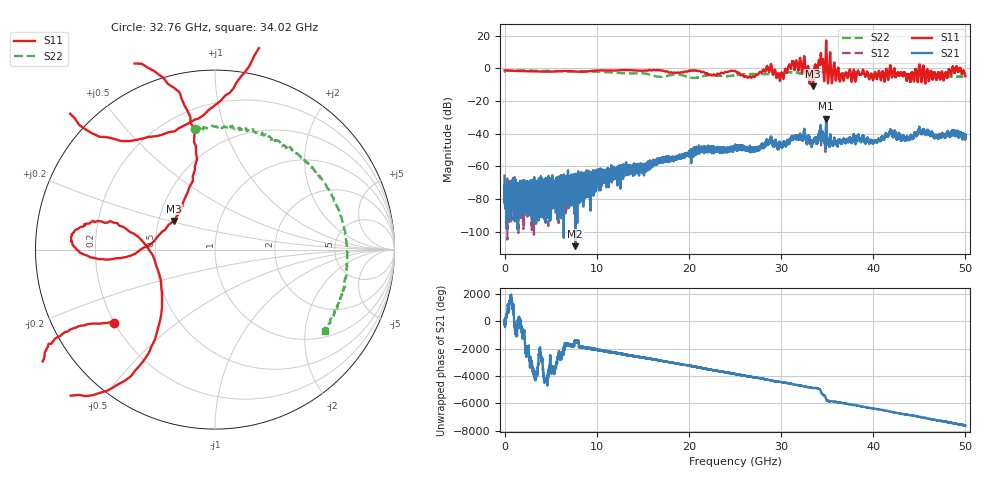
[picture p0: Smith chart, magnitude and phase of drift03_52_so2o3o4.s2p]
!Created with skrf (http://scikit-rf.org).
# Hz S RI R 50.0
!freq ReS11 ImS11 ReS21 ImS21 ReS12 ImS12 ReS22 ImS22
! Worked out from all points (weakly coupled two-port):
!   10001 points, 300 kHz to 50 GHz, reference 50 ohm
!   highest |S21| = -30.84 dB at 34.89 GHz (marker M1); lowest = -109.0 dB at 7.67 GHz (marker M2)
!   lowest |S11| = -11.1 dB at 33.47 GHz (marker M3), VSWR 1.77, Z = 30.1 + j10.5 ohm
!   |S11| at or under -10 dB: 33.44861 GHz to 33.48464 GHz (36.03 MHz wide, 0.108 % of centre)
!   |S22| runs from -5.9 to -1.3 dB; largest |S21 - S12| = 0.0059
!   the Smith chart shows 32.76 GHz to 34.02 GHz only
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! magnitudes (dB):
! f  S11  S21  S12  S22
! 300 kHz  -1.3  -65.8  -66.3  -2.0
! 255.3 MHz  -1.3  -78.6  -81.1  -1.4
! 625.3 MHz  -1.4  -79.3  -78.5  -1.5
! 7.67 GHz  -2.0  -109.0  -72.4  -2.0
! 8.335 GHz  -2.2  -66.3  -65.7  -1.9
! 16.67 GHz  -1.1  -56.8  -57.2  -5.2
! 25 GHz  -1.5  -48.8  -48.8  -4.3
! 26.92 GHz  -4.9  -50.3  -49.6  -3.5
! 28.73 GHz  -2.2  -46.1  -45.5  -3.5
! 30.06 GHz  -2.5  -47.4  -48.2  -2.8
! 31.87 GHz  -1.4  -42.8  -42.1  -2.9
! 33.34 GHz  -2.2  -47.9  -47.3  -2.9
! 33.47 GHz  -11.1  -45.6  -44.9  -2.8
! 34.3 GHz  7.3  -34.7  -35.8  -2.3
! 34.89 GHz  16.2  -30.8  -32.0  -2.3
! 36.58 GHz  -3.5  -46.1  -46.1  -3.6
! 40.18 GHz  -2.5  -44.0  -44.0  -3.7
! 41.67 GHz  -5.5  -40.2  -40.9  -3.6
! 43.84 GHz  -3.6  -43.1  -43.6  -3.9
! 45.19 GHz  -5.5  -38.8  -39.2  -4.5
! 49.21 GHz  -2.0  -39.9  -40.0  -5.1
! 50 GHz  -4.9  -41.3  -42.0  -5.0
